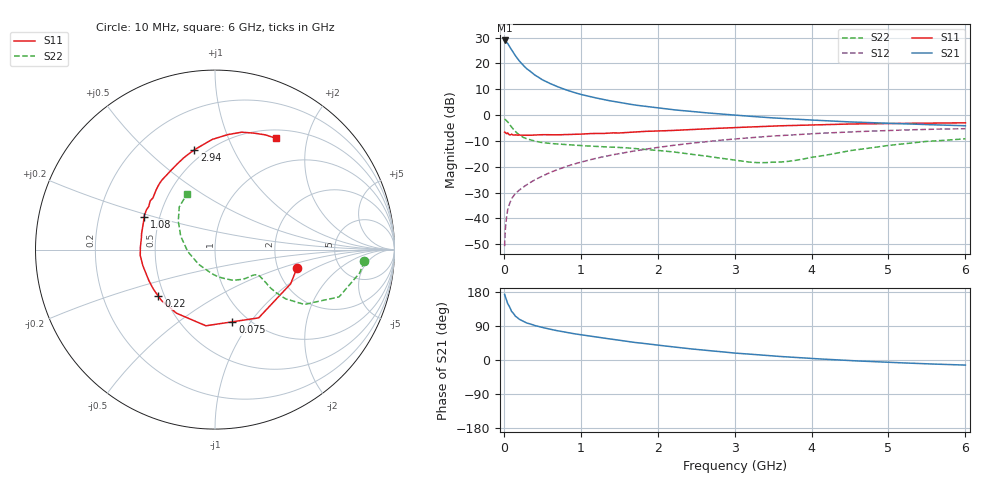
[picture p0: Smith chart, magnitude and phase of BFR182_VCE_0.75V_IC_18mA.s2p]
! Infineon Technologies  Discrete & RF Semiconductors
! BFR182
! VCE = 0.75 V,  IC =  18 mA
! Common Emitter S-Parameters:  Nov 2015
# GHz  S  MA  R  50
!  f  S11  S21  S12  S22
! GHz  MAG  ANG  MAG  ANG  MAG  ANG  MAG  ANG
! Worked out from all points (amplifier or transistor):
!   210 points, 10 MHz to 6 GHz, reference 50 ohm
!   highest |S21| = 28.9 dB at 10 MHz (marker M1)
!   |S21| within 3 dB of that: start of sweep to 87.05 MHz
!   unconditionally stable (mu >= 1): start of sweep to 15.77 MHz; 244.4 MHz to end of sweep
!   at 185 MHz: K = 0.87, MSG = 25.5 dB, |S12| = -29.4 dB
!   at 1.52 GHz: K = 1.24, MAG = 6.8 dB, |S12| = -14.8 dB
!   at 6 GHz: K = 1.06, MAG = -1.0 dB, |S12| = -5.3 dB
!   S11 on the Smith chart (normalised r, x): 10 MHz: 2.56, -0.67; 75 MHz: 0.85, -0.82; 220 MHz: 0.46, -0.29; 1.08 GHz: 0.41, +0.19; 2.94 GHz: 0.44, +0.72; 6 GHz: 0.61, +1.51
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0.01  0.4684 -12.5  27.77 173.1  0.0029 79.3  0.834 -4.5
0.02  0.4626 -24.3  27.11 166.4  0.0062 79.9  0.8171 -9.1
0.05  0.4515 -57.4  24.33 148.8  0.0147 70.0  0.7402 -20.8
0.075  0.4137 -76.5  21.03 140.0  0.0193 65.1  0.6598 -25.5
0.1  0.4274 -96.8  18.39 128.4  0.024 62.1  0.585 -31.5
0.15  0.4141 -121.2  14.04 115.5  0.0302 59.5  0.4803 -34.9
0.2  0.4116 -136.2  11.19 107.6  0.0352 60.1  0.4125 -35.2
0.22  0.4084 -140.6  10.38 105.5  0.0371 60.6  0.3958 -34.9
0.26  0.4073 -148.8  8.932 101.0  0.0409 61.7  0.3658 -34.3
0.3  0.4068 -155.1  7.832 97.5  0.045 63.0  0.3464 -33.4
0.4  0.4119 -167.5  5.982 91.1  0.0553 65.0  0.313 -31.8
0.5  0.4177 -175.6  4.821 85.7  0.0658 66.6  0.2928 -30.8
0.7  0.4146 171.8  3.529 77.0  0.088 67.7  0.2749 -30.7
1.02  0.4295 157.5  2.469 66.0  0.1245 66.9  0.2556 -33.9
1.08  0.4353 155.0  2.35 64.2  0.1316 66.6  0.2526 -35.0
1.6  0.4606 136.6  1.655 49.2  0.1907 62.1  0.2316 -44.5
2.02  0.4923 124.3  1.363 38.8  0.2384 57.5  0.2054 -55.7
2.94  0.5668 101.7  1.013 19.6  0.3383 45.9  0.1383 -94.0
3.1  0.5792 98.6  0.971 16.9  0.3537 43.6  0.1278 -104.7
4.1  0.6494 82.3  0.787 2.9  0.4424 29.9  0.1595 178.0
5.1  0.6869 70.3  0.685 -6.9  0.5084 16.7  0.2674 139.5
6  0.7068 61.4  0.621 -13.4  0.5446 4.7  0.3469 116.8
